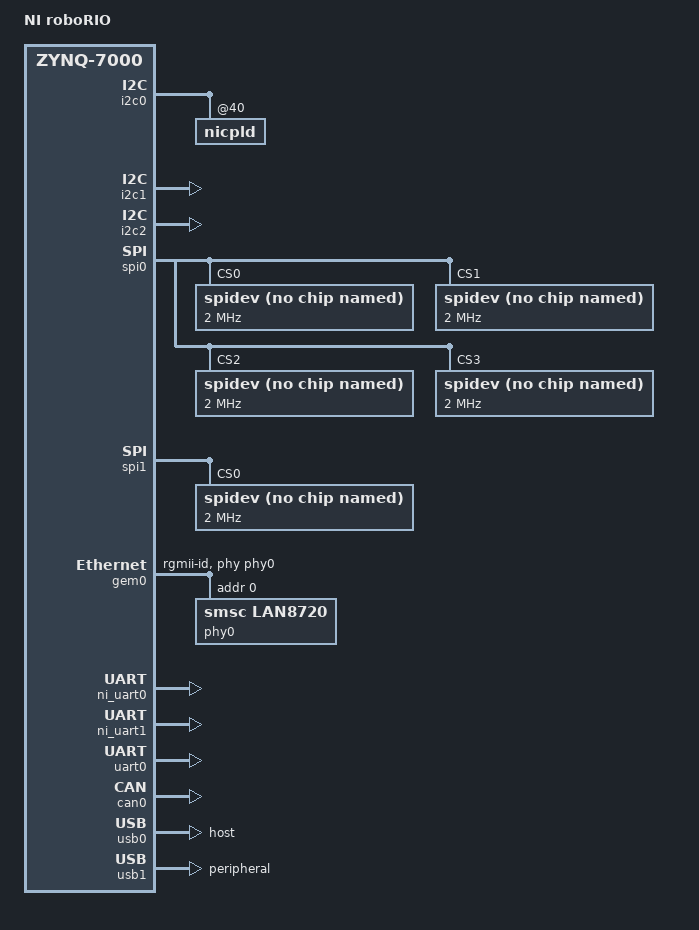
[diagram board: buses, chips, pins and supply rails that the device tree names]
/dts-v1/;
/include/ "ni-zynq.dtsi"

/* NIDEVCODE 76F2 */

/ {
	model = "NI roboRIO";
	compatible = "ni,zynq", "xlnx,zynq-7000";

	amba {
		gpio: gpio@e000a000 {
			/* You can specify GPIO settings here:
			 *
			 *  gpioN-label      String label.
			 *  gpioN-direction  "input" or "output".
			 *  gpioN-settings   "output" - specifies the GPIO state as "high"
			 *                              or "low".
			 *                   "input"  - specifies GPIO interrupt settings as
			 *                              "none", "level-low", "level-high",
			 *                              "edge-falling", "edge-rising", or
			 *                              "edge-both".
			 */

			/* GPIO24 (MIO24) */
			gpio24-label		= "wdt_interrupt";
			gpio24-direction	= "input";
			gpio24-settings		= "edge-falling";

			/* GPIO54 (EMIO0) */
			gpio54-label		= "eth0_link_speed";
			gpio54-direction	= "output";
			gpio54-settings		= "high";

			/* GPIO55 (EMIO1) */
			gpio55-label		= "phy_interrupt";
			gpio55-direction	= "input";
			gpio55-settings		= "level-low";

		};

		i2c0: i2c@e0004000 {
			nicpld@40 {
				watchdogs {
					boot-watchdog {
						interrupt-parent = <&gpio>;
						interrupts = <24 0>;
					};
				};

				leds {
					status-1 {
						label = "nilrt:status:yellow";
						max-brightness = <0xFFFF>;
					};
				};
			};
		};

		i2c1: i2c@e0005000 {
			status = "okay";
		};

		i2c2: i2c@81000000 {
			status = "okay";
		};

		spi0: spi@e0006000 {
			status = "okay";
			num-cs = <7>;
			is-decoded-cs = <1>;
			speed-hz = <200000000>;
			bus-num = <0>;

			spidev@0 {
                                compatible = "spidev";
                                spi-max-frequency = <2000000>;
                                reg = <0>;
			};
			spidev@1 {
                                compatible = "spidev";
                                spi-max-frequency = <2000000>;
                                reg = <1>;
			};
			spidev@2 {
                                compatible = "spidev";
                                spi-max-frequency = <2000000>;
                                reg = <2>;
			};
			spidev@3 {
                                compatible = "spidev";
                                spi-max-frequency = <2000000>;
                                reg = <3>;
			};
		};

		spi1: spi@e0007000 {
			status = "okay";
			num-cs = <3>;
			is-decoded-cs = <0>;
			speed-hz = <200000000>;
			bus-num = <1>;

			spidev@0 {
                                compatible = "spidev";
                                spi-max-frequency = <2000000>;
                                reg = <0>;
			};
		};
	};
};

&gem0 {
	status = "okay";
	phy-handle = <&phy0>;
	phy-mode = "rgmii-id";
	cdns,emio-gpio-speed-100 = <54>;
	#address-cells = <0x1>;
	#size-cells = <0x0>;

	phy0: phy@0 {
		compatible = "smsc,lan8720";
		device_type = "ethernet-phy";
		reg = <0x0>;
		/* Interrupt pin is connected from PL pin to FPGA IRQ 3 */
		interrupts = <0 32 4>;
	};
};

&ni_uart0 {
	status = "okay";
	transceiver = "RS-232";
};

&ni_uart1 {
	status = "okay";
	transceiver = "RS-232";
};

&uart0 {
	status = "okay";
};

&can0 {
	status = "okay";
};

&usb0 {
	status = "okay";
	dr_mode = "host";
};

&usb1 {
	status = "okay";
	dr_mode = "peripheral";
};

&clkc {
	/* Enable fclk1 for serial. */
	fclk-enable = <0x2>;
};
